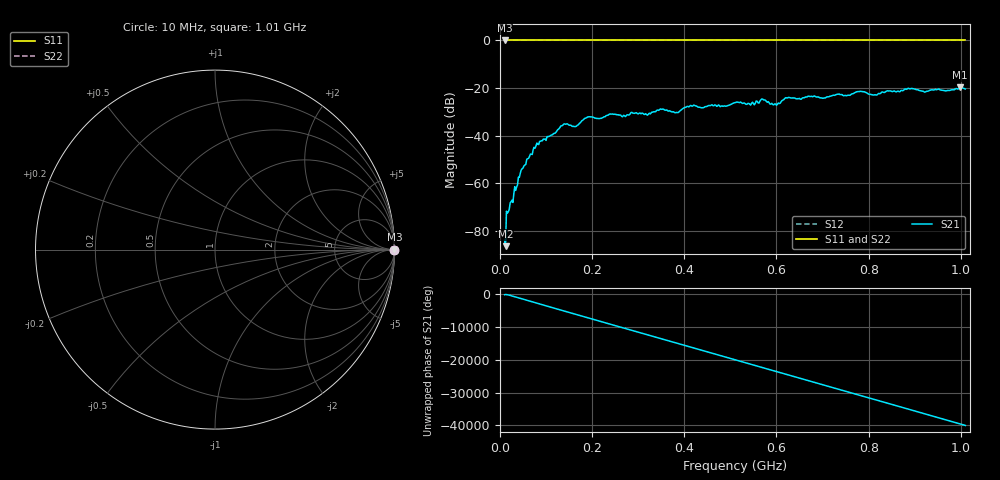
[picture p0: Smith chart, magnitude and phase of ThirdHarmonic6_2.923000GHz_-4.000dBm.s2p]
! 8/17/2025 8:08:21 AM
! C:\ANRITSUVNA\TEMP\TEMP.S2P
! CHANNEL.1
! TR.MEASUREMENT
! RAW.DATA
! RF.CORRECTION.OFF
! AVERAGING.OFF
! IF.BANDWIDTH: 5KHZ
! SWEEPTYPE:  FREQ.SWEEP(Linear)
! Reference Plane Port Info
! PORT:  PORT1  PORT2
! DISTANCE:  0  m  0  m
! TIME:  0  s  0  s
! PHASE.OFFSET:  0  deg.  0  deg.
! LOSS:  0  dB  0  dB
! REF.LOSS:  0  dB  0  dB
! REF.FREQ:  0  Hz  0  Hz
! Power Info
! POWER:  -20  dBm  -20  dBm
! EFF.POWER:  -20  dBm  -20  dBm
! SOURCE.ATTEN:  0  dB  0  dB
! TEST.ATTEN:  0  dB  0  dB
# GHZ S RI R 50.0
! FREQ.GHZ  S11RE  S11IM  S21RE  S21IM  S12RE  S12IM  S22RE  S22IM
!; PortSelection: Port_12
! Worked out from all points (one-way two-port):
!   501 points, 10 MHz to 1.01 GHz, reference 50 ohm
!   highest |S21| = -19.62 dB at 998 MHz (marker M1); lowest = -86.4 dB at 12 MHz (marker M2)
!   lowest |S11| = 0.0 dB at 10 MHz (marker M3)
!   |S11| at or under -10 dB: nowhere
!   |S22| runs from 0.0 to 0.0 dB; largest |S21 - S12| = 1.1
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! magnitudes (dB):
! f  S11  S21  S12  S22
! 10 MHz  0.0  -83.9  0.0  0.0
! 12 MHz  0.0  -86.4  0.0  0.0
! 18 MHz  0.0  -72.0  0.0  0.0
! 44 MHz  0.0  -55.8  0.0  0.0
! 76 MHz  0.0  -45.3  0.0  0.0
! 136 MHz  0.0  -35.6  0.0  0.0
! 162 MHz  0.0  -36.2  0.0  0.0
! 178 MHz  0.0  -33.7  0.0  0.0
! 344 MHz  0.0  -29.4  0.0  0.0
! 384 MHz  0.0  -30.2  0.0  0.0
! 416 MHz  0.0  -27.5  0.0  0.0
! 510 MHz  0.0  -26.1  0.0  0.0
! 548 MHz  0.0  -25.9  0.0  0.0
! 570 MHz  0.0  -24.6  0.0  0.0
! 598 MHz  0.0  -26.7  0.0  0.0
! 622 MHz  0.0  -24.1  0.0  0.0
! 678 MHz  0.0  -23.6  0.0  0.0
! 782 MHz  0.0  -21.3  0.0  0.0
! 814 MHz  0.0  -22.8  0.0  0.0
! 844 MHz  0.0  -21.2  0.0  0.0
! 998 MHz  0.0  -19.6  0.0  0.0
! 1.01 GHz  0.0  -20.4  0.0  0.0
